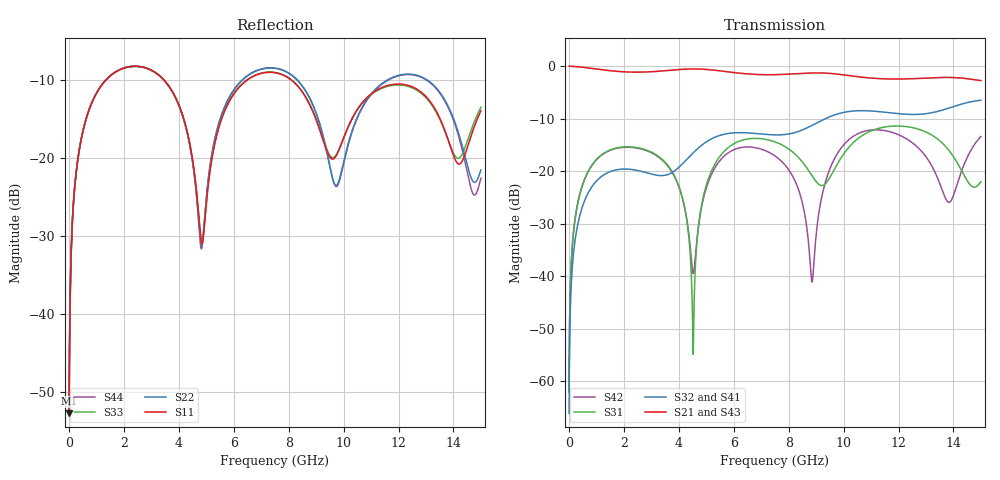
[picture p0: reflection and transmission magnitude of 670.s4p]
! Created with skrf 1.8.0 (http://scikit-rf.org).
# GHz S RI R 50.0
!freq ReS11 ImS11 ReS12 ImS12 ReS13 ImS13
! ReS14 ImS14
! ReS21 ImS21 ReS22 ImS22 ReS23 ImS23
! ReS24 ImS24
! ReS31 ImS31 ReS32 ImS32 ReS33 ImS33
! ReS34 ImS34
! ReS41 ImS41 ReS42 ImS42 ReS43 ImS43
! ReS44 ImS44
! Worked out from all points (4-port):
!   2499 points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, 5 MHz to 15 GHz, reference 50 ohm
!   strongest paths, dB at 5 MHz, 3.476 GHz, 7.19 GHz, 11.1 GHz, 15 GHz:
!     S21: 0.0, -0.9, -1.6, -2.3, -2.8
!     S43: 0.0, -0.9, -1.6, -2.3, -2.8
!     S32: -66.1, -20.8, -13.0, -8.6, -6.5
!     S41: -66.1, -20.8, -13.0, -8.6, -6.5
!     S31: -62.0, -18.2, -14.0, -12.1, -22.0
!     S42: -62.0, -18.3, -16.2, -12.1, -13.4
!   lowest |S11| = -52.7 dB at 5 MHz (marker M1), VSWR 1.00, Z = 50.2 + j0.14 ohm
!   |S11| at or under -10 dB: start of sweep to 1.344 GHz; 3.459 GHz to 6.492 GHz (3.033 GHz wide, 61 % of centre); 8.095 GHz to end of sweep
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0.005  0.00185 0.0014  0.9981 -0.0036  9.57e-05 0.000793  -9.26e-05 -0.000488
       0.9981 -0.0036  0.00185 0.0014  -9.26e-05 -0.000488  9.57e-05 0.000793
       9.57e-05 0.000793  -9.26e-05 -0.000488  0.00185 0.0014  0.9981 -0.0036
       -9.26e-05 -0.000488  9.57e-05 0.000793  0.9981 -0.0036  0.00185 0.0014
1.519383  0.2977 0.1604  0.4793 -0.765  0.1504 0.0543  -0.0992 0.00658
          0.4793 -0.765  0.2988 0.1595  -0.0992 0.00663  0.1475 0.0589
          0.1504 0.0543  -0.0992 0.00663  0.2976 0.1603  0.4794 -0.765
          -0.0992 0.00658  0.1475 0.0589  0.4794 -0.765  0.2987 0.1594
4.520634  0.0444 -0.0814  -0.8986 -0.2752  0.00179 -0.000281  -0.0396 0.144
          -0.8986 -0.2752  0.0425 -0.0801  -0.0388 0.1442  -0.0104 -0.00201
          0.00179 -0.000281  -0.0388 0.1442  0.0447 -0.0793  -0.8989 -0.2749
          -0.0396 0.144  -0.0104 -0.00201  -0.8989 -0.2749  0.041 -0.0786
5.677366  0.135 0.1497  -0.7867 0.4134  0.1339 0.0823  0.1348 0.1807
          -0.7867 0.4134  0.1451 0.1562  0.1357 0.18  0.0952 0.1044
          0.1339 0.0823  0.1357 0.18  0.1369 0.1509  -0.7864 0.4132
          0.1348 0.1807  0.0952 0.1044  -0.7864 0.4132  0.1451 0.1588
8.847436  0.1665 -0.119  0.634 0.5816  -0.0568 -0.0709  0.1795 -0.2047
          0.634 0.5816  0.1569 -0.1617  0.1775 -0.2065  -0.00744 -0.00476
          -0.0568 -0.0709  0.1775 -0.2065  0.1688 -0.1191  0.6318 0.5835
          0.1795 -0.2047  -0.00744 -0.00476  0.6318 0.5835  0.1579 -0.1627
9.754064  0.1033 0.0201  0.8331 0.1062  -0.0188 0.1131  0.0366 -0.3468
          0.8331 0.1062  0.0671 -0.00293  0.0332 -0.347  0.0205 0.1428
          -0.0188 0.1131  0.0332 -0.347  0.1052 0.018  0.8326 0.1102
          0.0366 -0.3468  0.0205 0.1428  0.8326 0.1102  0.0658 -0.00447
15  0.1617 0.1185  -0.7272 0.00491  -0.00452 0.0792  0.024 0.4745
    -0.7272 0.00491  0.0809 0.0222  0.0324 0.4718  0.154 0.1485
    -0.00452 0.0792  0.0324 0.4718  0.1734 0.1211  -0.7267 -0.00452
    0.024 0.4745  0.154 0.1485  -0.7267 -0.00452  0.0688 0.028
